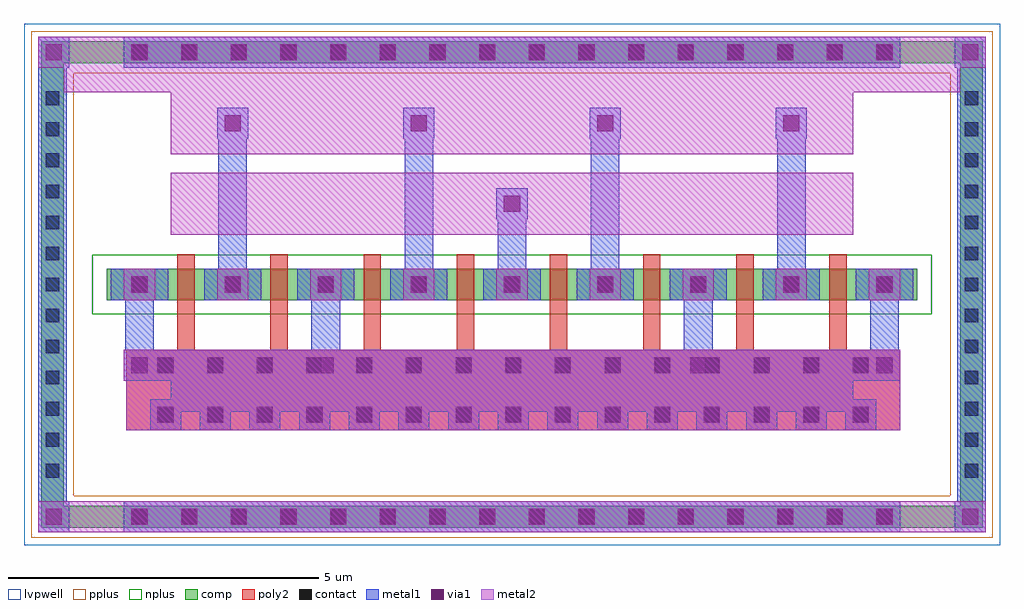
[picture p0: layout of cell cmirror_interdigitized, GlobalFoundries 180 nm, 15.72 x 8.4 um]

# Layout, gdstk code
import gdstk
lib = gdstk.Library(unit=1e-6, precision=5e-09)
def R(c, l, rs):  # rectangles x0, y0, x1, y1
    for r in rs: c.add(gdstk.rectangle(r[:2], r[2:], *l))
def A(c, l, x, y, w, h, nx, ny, dx, dy):  # array of equal rectangles
    R(c, l, [(x+i*dx, y+j*dy, x+i*dx+w, y+j*dy+h) for i in range(nx) for j in range(ny)])
def P(c, l, *ps):  # polygons
    for p in ps: c.add(gdstk.Polygon(p, *l))
comp = (22, 0)
poly2 = (30, 0)
pplus = (31, 0)
nplus = (32, 0)
contact = (33, 0)
metal1 = (34, 0)
via1 = (35, 0)
metal2 = (36, 0)
lvpwell = (204, 0)

cmirror_interdigitized = lib.new_cell('cmirror_interdigitized')
A(cmirror_interdigitized, comp, -6.18, -3.92, 0.36, 0.36, 16, 2, 0.8, 7.48)
A(cmirror_interdigitized, comp, -7.58, -3.18, 0.36, 0.36, 1, 13, 0, 0.5)
A(cmirror_interdigitized, comp, 7.22, -3.18, 0.36, 0.36, 1, 13, 0, 0.5)
R(cmirror_interdigitized, comp, [(-6.18,-3.92,6.18,-3.56), (-7.58,-3.18,-7.22,3.18), (7.22,-3.18,7.58,3.18), (-6.53,-0.25,6.53,0.25), (-6.18,3.56,6.18,3.92)])
P(cmirror_interdigitized, comp, [(7.58,3.92),(-7.58,3.92),(-7.58,-3.56),(-7.22,-3.56),(-7.22,3.56),(7.22,3.56),(7.22,-3.56),(-7.22,-3.56),(-7.58,-3.56),(-7.58,-3.92),(7.58,-3.92)])
A(cmirror_interdigitized, poly2, -5.76, -2.28, 0.36, 0.36, 15, 2, 0.8, 0.8)
A(cmirror_interdigitized, poly2, -5.39, -1.05, 0.28, 0.56, 8, 1, 1.5, 0)
A(cmirror_interdigitized, poly2, -5.39, -0.49, 0.28, 0.98, 8, 1, 1.5, 0)
R(cmirror_interdigitized, poly2, [(-6.21,-2.35,6.25,-1.05)])
P(cmirror_interdigitized, pplus, [(7.74,4.08),(-7.74,4.08),(-7.74,-3.4),(-7.06,-3.4),(-7.06,3.4),(7.06,3.4),(7.06,-3.4),(-7.06,-3.4),(-7.74,-3.4),(-7.74,-4.08),(7.74,-4.08)])
R(cmirror_interdigitized, nplus, [(-6.76,-0.48,6.76,0.48)])
A(cmirror_interdigitized, contact, -6.11, -3.85, 0.22, 0.22, 16, 2, 0.8, 7.48)
A(cmirror_interdigitized, contact, -7.51, -3.11, 0.22, 0.22, 1, 13, 0, 0.5)
A(cmirror_interdigitized, contact, 7.29, -3.11, 0.22, 0.22, 1, 13, 0, 0.5)
A(cmirror_interdigitized, contact, -5.69, -2.21, 0.22, 0.22, 15, 2, 0.8, 0.8)
A(cmirror_interdigitized, contact, -6.11, -0.11, 0.22, 0.22, 9, 1, 1.5, 0)
A(cmirror_interdigitized, metal1, -6.25, -3.99, 0.5, 0.5, 16, 2, 0.8, 7.48)
A(cmirror_interdigitized, metal1, -7.63, -3.23, 0.46, 0.46, 1, 13, 0, 0.5)
A(cmirror_interdigitized, metal1, 7.17, -3.23, 0.46, 0.46, 1, 13, 0, 0.5)
A(cmirror_interdigitized, metal1, -5.83, -2.35, 0.5, 0.5, 15, 1, 0.8, 0)
A(cmirror_interdigitized, metal1, -5.83, -1.55, 0.5, 0.5, 4, 1, 0.8, 0)
A(cmirror_interdigitized, metal1, -2.63, -1.55, 0.5, 0.5, 7, 1, 0.8, 0)
A(cmirror_interdigitized, metal1, 2.97, -1.55, 0.5, 0.5, 4, 1, 0.8, 0)
A(cmirror_interdigitized, metal1, -6.46, -0.25, 0.92, 0.5, 9, 1, 1.5, 0)
A(cmirror_interdigitized, metal1, -6.23, -0.23, 0.46, 0.46, 9, 1, 1.5, 0)
A(cmirror_interdigitized, metal1, -4.73, 0.25, 0.46, 2.6, 4, 1, 3, 0)
A(cmirror_interdigitized, metal1, -4.75, 2.35, 0.5, 0.5, 4, 1, 3, 0)
R(cmirror_interdigitized, metal1, [(-7.63,-3.99,-7.13,-3.49), (-7.63,-3.99,-7.13,-3.49), (-7.63,-3.99,-7.17,-3.56), (-6.25,-3.99,6.25,-3.49), (7.13,-3.99,7.63,-3.49), (7.13,-3.99,7.63,-3.49), (7.17,-3.99,7.63,-3.56), (-7.63,-3.56,-7.17,3.56), (7.17,-3.56,7.63,3.56), (-5.5,-2.05,5.5,-1.05), (-6.25,-1.55,-5.75,-1.05), (-3.25,-1.55,-2.75,-1.05), (2.75,-1.55,3.25,-1.05), (5.75,-1.55,6.25,-1.05), (-6.23,-1.05,-5.77,-0.25), (-3.23,-1.05,-2.77,-0.25), (2.77,-1.05,3.23,-0.25), (5.77,-1.05,6.23,-0.25), (-6.25,-0.25,-5.75,0.25), (-6.25,-0.25,-5.75,0.25), (-4.75,-0.25,-4.25,0.25), (-4.75,-0.25,-4.25,0.25), (-3.25,-0.25,-2.75,0.25), (-3.25,-0.25,-2.75,0.25), (-1.75,-0.25,-1.25,0.25), (-1.75,-0.25,-1.25,0.25), (-0.25,-0.25,0.25,0.25), (-0.25,-0.25,0.25,0.25), (1.25,-0.25,1.75,0.25), (1.25,-0.25,1.75,0.25), (2.75,-0.25,3.25,0.25), (2.75,-0.25,3.25,0.25), (4.25,-0.25,4.75,0.25), (4.25,-0.25,4.75,0.25), (5.75,-0.25,6.25,0.25), (5.75,-0.25,6.25,0.25), (-0.23,0.25,0.23,1.55), (-0.25,1.05,0.25,1.55), (-7.63,3.49,-7.13,3.99), (-7.63,3.49,-7.13,3.99), (-6.25,3.49,6.25,3.99), (7.13,3.49,7.63,3.99), (7.13,3.49,7.63,3.99), (-7.63,3.56,-7.17,3.99), (7.17,3.56,7.63,3.99)])
A(cmirror_interdigitized, via1, -6.13, -3.87, 0.26, 0.26, 16, 2, 0.8, 7.48)
A(cmirror_interdigitized, via1, -5.71, -2.23, 0.26, 0.26, 15, 1, 0.8, 0)
A(cmirror_interdigitized, via1, -5.71, -1.43, 0.26, 0.26, 4, 1, 0.8, 0)
A(cmirror_interdigitized, via1, -2.51, -1.43, 0.26, 0.26, 7, 1, 0.8, 0)
A(cmirror_interdigitized, via1, 3.09, -1.43, 0.26, 0.26, 4, 1, 0.8, 0)
A(cmirror_interdigitized, via1, -6.13, -0.13, 0.26, 0.26, 9, 1, 1.5, 0)
A(cmirror_interdigitized, via1, -4.63, 2.47, 0.26, 0.26, 4, 1, 3, 0)
R(cmirror_interdigitized, via1, [(-7.51,-3.87,-7.25,-3.61), (7.25,-3.87,7.51,-3.61), (-6.13,-1.43,-5.87,-1.17), (-3.13,-1.43,-2.87,-1.17), (2.87,-1.43,3.13,-1.17), (5.87,-1.43,6.13,-1.17), (-0.13,1.17,0.13,1.43), (-7.51,3.61,-7.25,3.87), (7.25,3.61,7.51,3.87)])
A(cmirror_interdigitized, metal2, -6.25, -3.99, 0.5, 0.5, 16, 2, 0.8, 7.48)
A(cmirror_interdigitized, metal2, -5.83, -2.35, 0.5, 0.5, 15, 1, 0.8, 0)
A(cmirror_interdigitized, metal2, -5.83, -1.55, 0.5, 0.5, 4, 1, 0.8, 0)
A(cmirror_interdigitized, metal2, -2.63, -1.55, 0.5, 0.5, 7, 1, 0.8, 0)
A(cmirror_interdigitized, metal2, 2.97, -1.55, 0.5, 0.5, 4, 1, 0.8, 0)
A(cmirror_interdigitized, metal2, -4.75, 2.35, 0.5, 0.5, 4, 1, 3, 0)
R(cmirror_interdigitized, metal2, [(-7.63,-3.99,-7.13,-3.49), (-7.63,-3.99,-7.13,-3.49), (-7.63,-3.99,-7.22,-3.49), (-7.22,-3.99,7.22,-3.49), (7.13,-3.99,7.63,-3.49), (7.13,-3.99,7.63,-3.49), (7.22,-3.99,7.63,-3.49), (-6.21,-2.35,6.25,-1.05), (-5.5,-2.05,5.5,-1.05), (-6.25,-1.55,-5.75,-1.05), (-3.25,-1.55,-2.75,-1.05), (2.75,-1.55,3.25,-1.05), (5.75,-1.55,6.25,-1.05), (-6.25,-0.25,-5.75,0.25), (-6.25,-0.25,-5.75,0.25), (-4.75,-0.25,-4.25,0.25), (-4.75,-0.25,-4.25,0.25), (-3.25,-0.25,-2.75,0.25), (-3.25,-0.25,-2.75,0.25), (-1.75,-0.25,-1.25,0.25), (-1.75,-0.25,-1.25,0.25), (-0.25,-0.25,0.25,0.25), (-0.25,-0.25,0.25,0.25), (1.25,-0.25,1.75,0.25), (1.25,-0.25,1.75,0.25), (2.75,-0.25,3.25,0.25), (2.75,-0.25,3.25,0.25), (4.25,-0.25,4.75,0.25), (4.25,-0.25,4.75,0.25), (5.75,-0.25,6.25,0.25), (5.75,-0.25,6.25,0.25), (-5.5,0.8,5.5,1.8), (-0.25,1.05,0.25,1.55), (-5.5,2.1,5.5,3.1), (-7.22,3.1,7.22,3.49), (-7.63,3.49,-7.13,3.99), (-7.63,3.49,-7.13,3.99), (-7.63,3.49,-7.22,3.99), (-7.22,3.49,7.22,3.99), (7.13,3.49,7.63,3.99), (7.13,3.49,7.63,3.99), (7.22,3.49,7.63,3.99)])
R(cmirror_interdigitized, lvpwell, [(-7.86,-4.2,7.86,4.2)])

lib.write_gds('cmirror_interdigitized.gds')
